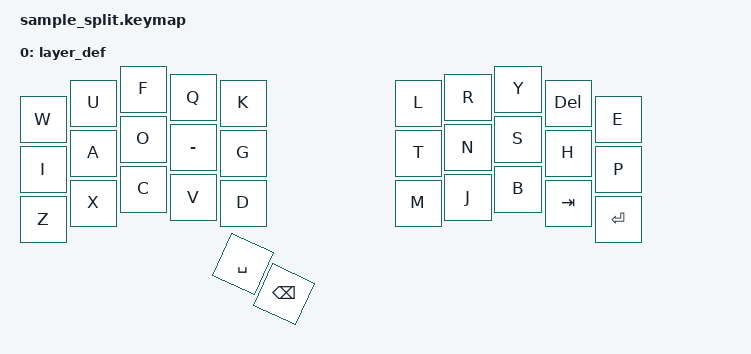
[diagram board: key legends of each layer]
#include <behaviors.dtsi>
#include <dt-bindings/zmk/keys.h>
#include <dt-bindings/zmk/bt.h>
#include <dt-bindings/zmk/outputs.h>
#include <dt-bindings/zmk/pointing.h>
#include <input/processors.dtsi>

/{
    keymap {
        compatible = "zmk,keymap";
        layer_def:layer_def{};
    };
};


&layer_def {
    bindings = <
                     &kp W  &kp U &kp F &kp  Q          &kp K &kp L &kp R &kp Y
&kp DEL  &kp E &kp I  &kp A &kp O &kp MINUS       &kp G &kp T &kp N &kp S &kp H &kp P
               &kp Z &kp X  &kp C &kp V                       &kp D &kp M &kp J &kp B
                   &kp TAB &kp RET           &kp SPACE &kp BSPC
        >;
};
